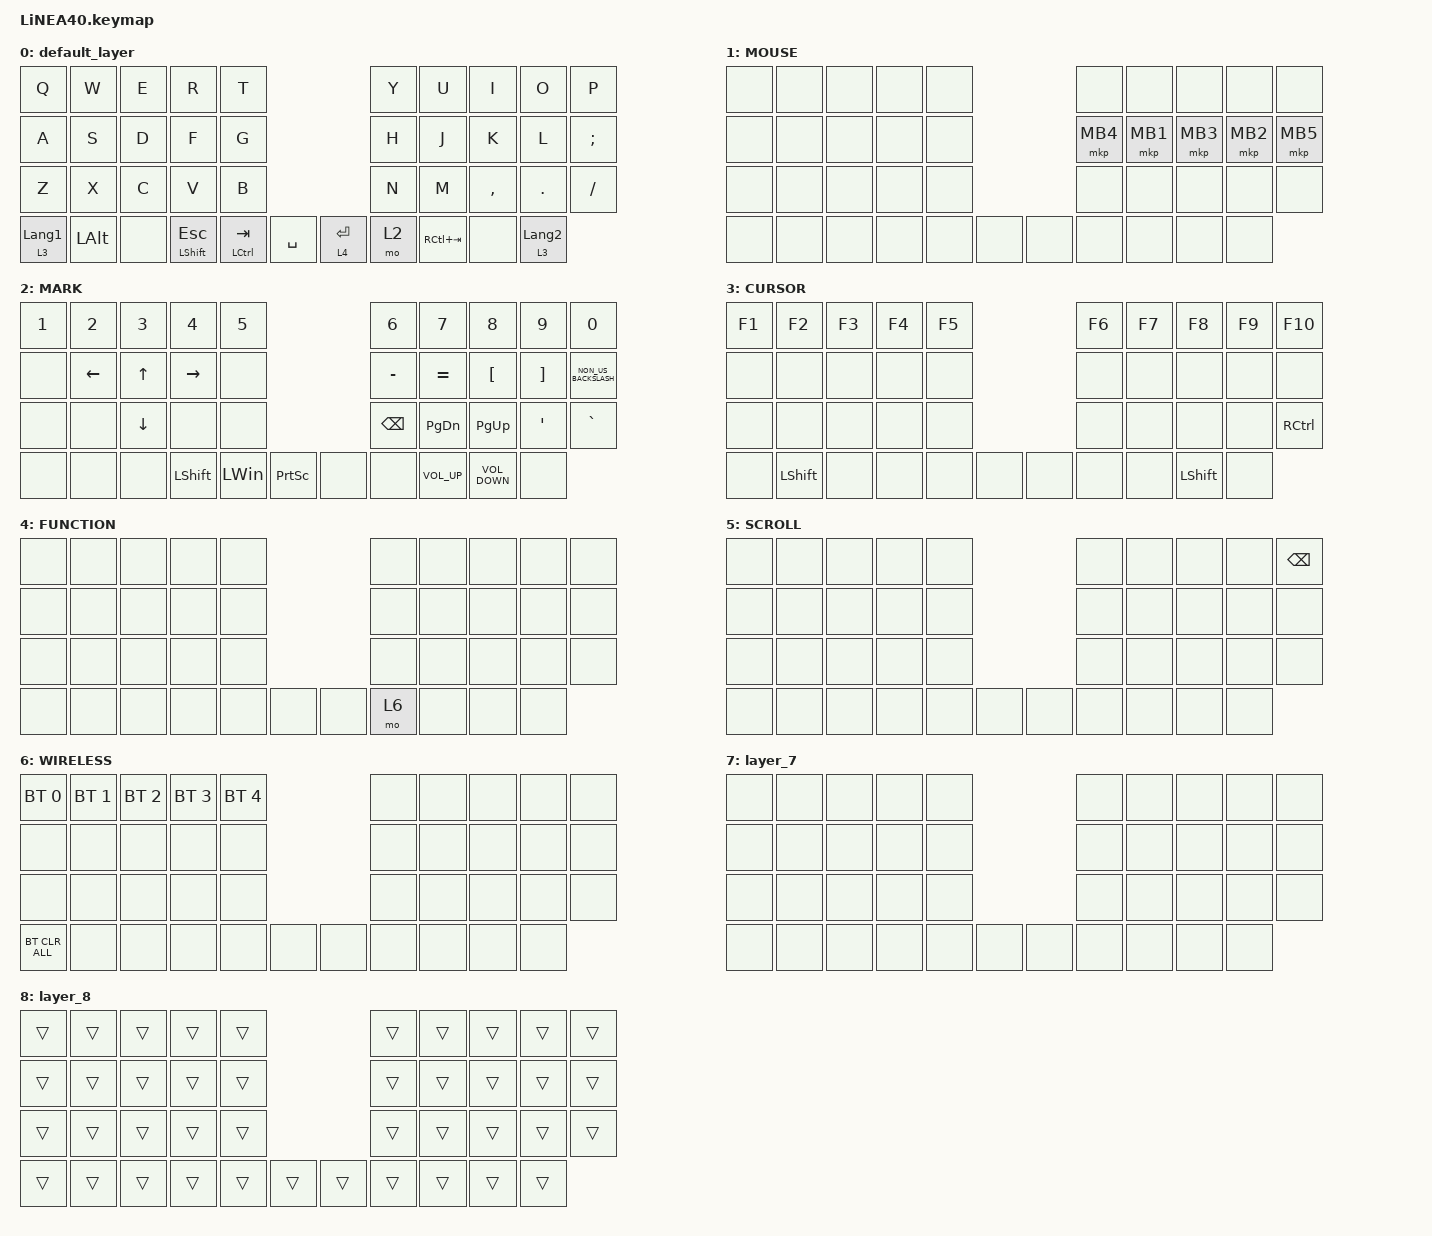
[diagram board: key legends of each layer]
#define ZMK_POINTING_DEFAULT_SCRL_VAL 150

#include <dt-bindings/zmk/input_transform.h>
#include <input/processors.dtsi>
#include <zephyr/dt-bindings/input/input-event-codes.h>
#include <behaviors.dtsi>
#include <dt-bindings/zmk/bt.h>
#include <dt-bindings/zmk/keys.h>
#include <dt-bindings/zmk/pointing.h>

#define MOUSE 1
#define MARK 2
#define CURSOR 3
#define FUNCTION 4
#define SCROLL 5
#define WIRELESS 6

&mt {
    tapping-term-ms = <200>; // This is the value already set by default
};

&mmv {
    delay-ms = <20>;
    trigger-period-ms = <5>;
    time-to-max-speed-ms = <100>;
    acceleration-exponent = <2>;
};

&msc {
    delay-ms = <3>;
    trigger-period-ms = <3>;
    time-to-max-speed-ms = <100>;
    acceleration-exponent = <0>;
};

/ {
    input_processors {
        zip_wheel_scaler: zip_wheel_scaler {
            compatible = "zmk,input-processor-scaler";
            #input-processor-cells = <2>;
            type = <INPUT_EV_REL>;
            codes = <INPUT_REL_WHEEL>;
            track-remainders;
        };
    };
};

&msc_input_listener {
    speed_up {
        layers = <FUNCTION>;
        input-processors = <&zip_wheel_scaler 3 1>; //スクロールを3倍速にする
    };
};

&trackball_listener {
    scroller {
        layers = <SCROLL>;
        input-processors =
            <&zip_xy_transform INPUT_TRANSFORM_Y_INVERT>,
            //スクロール方向を逆転,,,,,,,,,,,,,,,,,,,,,,,,,,,,,,,,,,,,,,,,,,,,,,,,,,,,,,,,,,,,,,,,,,,,,,,,,
            <&zip_xy_to_scroll_mapper>;
    };
};

/ {
    combos {
        compatible = "zmk,combos";

        unlock {
            bindings = <&studio_unlock>;
            key-positions = <9 30>;
        };
    };

    behaviors {
        re_kp: sensor_rotate_kp {
            compatible = "zmk,behavior-sensor-rotate-var";
            #sensor-binding-cells = <2>;
            bindings = <&kp>, <&kp>;
        };

        mouse_scrl: mouse_wheel_scrl {
            compatible = "zmk,behavior-sensor-rotate-var";
            #sensor-binding-cells = <2>;
            bindings = <&msc>, <&msc>;

            tap-ms = <20>;
        };
    };

    keymap {
        compatible = "zmk,keymap";

        default_layer {
            bindings = <
&kp Q             &kp W         &kp E  &kp R                  &kp T                                    &kp Y  &kp U  &kp I        &kp O    &kp P
&kp A             &kp S         &kp D  &kp F                  &kp G                                    &kp H  &kp J  &kp K        &kp L    &kp SEMICOLON
&kp Z             &kp X         &kp C  &kp V                  &kp B                                    &kp N  &kp M  &kp COMMA    &kp DOT  &kp SLASH
&lt 3 LANGUAGE_1  &kp LEFT_ALT  &none  &mt LEFT_SHIFT ESCAPE  &mt LCTRL TAB  &kp SPACE    &lt 4 ENTER  &mo 2         &kp RC(TAB)  &none    &lt 3 LANGUAGE_2
            >;
        };

        //1

        MOUSE {
            bindings = <
&none  &none  &none  &none  &none                  &none     &none     &none     &none     &none
&none  &none  &none  &none  &none                  &mkp MB4  &mkp MB1  &mkp MB3  &mkp MB2  &mkp MB5
&none  &none  &none  &none  &none                  &none     &none     &none     &none     &none
&none  &none  &none  &none  &none  &none    &none  &none               &none     &none     &none
            >;
        };

        //2

        MARK {
            bindings = <
&kp NUMBER_1  &kp NUMBER_2  &kp NUMBER_3    &kp NUMBER_4    &kp N5                              &kp NUMBER_6   &kp N7         &kp N8            &kp N9             &kp N0
&none         &kp LEFT      &kp UP_ARROW    &kp RIGHT       &none                               &kp MINUS      &kp EQUAL      &kp LEFT_BRACKET  &kp RIGHT_BRACKET  &kp NON_US_BACKSLASH
&none         &none         &kp DOWN_ARROW  &none           &none                               &kp BACKSPACE  &kp PAGE_DOWN  &kp PG_UP         &kp SQT            &kp GRAVE
&none         &none         &none           &kp LEFT_SHIFT  &kp LWIN  &kp PRINTSCREEN    &none  &none                         &kp C_VOLUME_UP   &kp C_VOLUME_DOWN  &none
            >;
        };

        //3

        CURSOR {
            bindings = <
&kp F1  &kp F2 &kp F3 &kp F4  &kp F5                             &kp F6 &kp F7 &kp F8 &kp F9  &kp F10
&none   &none  &none  &none           &none                      &none  &none  &none  &none           &none
&none   &none           &none   &none   &none                    &none  &none  &none  &none           &kp RIGHT_CONTROL
&none   &kp LEFT_SHIFT  &none   &none   &none    &none    &none  &none         &none  &kp LEFT_SHIFT  &none
            >;
        };

        //4

        FUNCTION {
            bindings = <
&none  &none  &none  &none  &none                  &none  &none  &none  &none  &none
&none  &none  &none  &none  &none                  &none  &none  &none  &none  &none
&none  &none  &none  &none  &none                  &none  &none  &none  &none  &none
&none  &none  &none  &none  &none  &none    &none  &mo 6         &none  &none  &none
            >;
        };

        //5

        SCROLL {
            bindings = <
&none  &none  &none  &none  &none                  &none  &none  &none  &none  &kp BACKSPACE
&none  &none  &none  &none  &none                  &none  &none  &none  &none  &none
&none  &none  &none  &none  &none                  &none  &none  &none  &none  &none
&none  &none  &none  &none  &none  &none    &none  &none         &none  &none  &none
            >;
        };

        //6

        WIRELESS {
            bindings = <
&bt BT_SEL 0    &bt BT_SEL 1  &bt BT_SEL 2  &bt BT_SEL 3  &bt BT_SEL 4                  &none  &none  &none  &none  &none
&none           &none         &none         &none         &none                         &none  &none  &none  &none  &none
&none           &none         &none         &none         &none                         &none  &none  &none  &none  &none
&bt BT_CLR_ALL  &none         &none         &none         &none         &none    &none  &none         &none  &none  &none
            >;
        };

        layer_7 {
            bindings = <
&none  &none  &none  &none  &none                  &none  &none  &none  &none  &none
&none  &none  &none  &none  &none                  &none  &none  &none  &none  &none
&none  &none  &none  &none  &none                  &none  &none  &none  &none  &none
&none  &none  &none  &none  &none  &none    &none  &none         &none  &none  &none
            >;
        };

        layer_8 {
            bindings = <
&trans  &trans  &trans  &trans  &trans                    &trans  &trans  &trans  &trans  &trans
&trans  &trans  &trans  &trans  &trans                    &trans  &trans  &trans  &trans  &trans
&trans  &trans  &trans  &trans  &trans                    &trans  &trans  &trans  &trans  &trans
&trans  &trans  &trans  &trans  &trans  &trans    &trans  &trans          &trans  &trans  &trans
            >;
        };
    };
};
